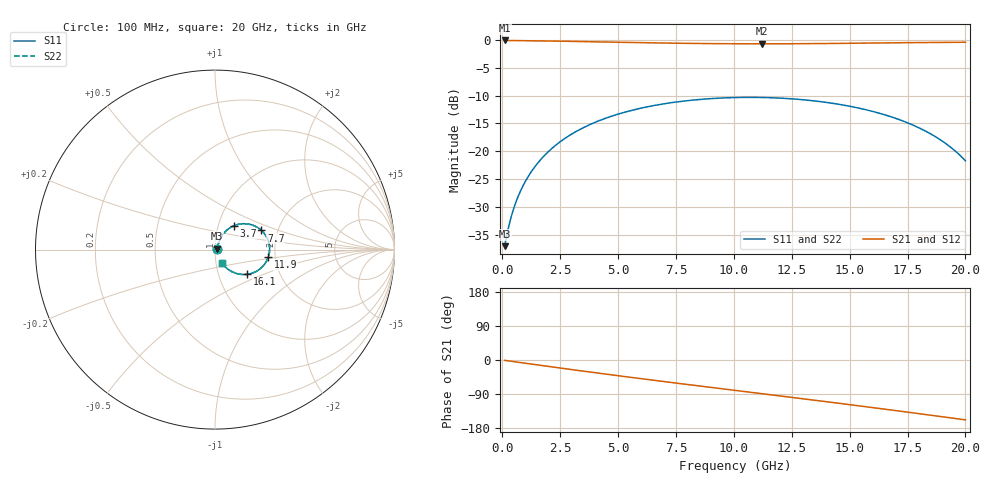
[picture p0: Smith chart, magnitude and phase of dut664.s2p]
! Touchstone file exported from HFSS 2026.1.0
!  File:  C:/ffzhzh/LocalFiles/Ansys_Project_Files/temp_train_TSV_RDL_664_1783131139_37876.aedt
!  Generated:  10:22:12 AM Jul  4, 2026
!  Design:  TSV_RDL
!  Project:  temp_train_TSV_RDL_664_1783131139_37876
! Variables:
!  h_bsmrdl = 2.51um
!  h_ox = 20um
!  h_rdl = 5um
!  h_sub = 56.38um
!  h_tmrdl = 4.46um
!  h_tsv = 56.38um
!  h_via = 3um
!  l_bsmrdl = 198.41um
!  l_sub = 2781.92um
!  l_tmrdl = 411.01um
!  m_sub = 200um
!  pitch = 33.77um
!  r_tsv = 4.67um
!  s_tmrdl = 10um
!  w_bsmrdl = 26.32um
!  w_sub = 500um
!  w_tmrdl = 21.23um
!  x_tsv_center1 = 421.625um
!  x_tsv_center2 = 646.355um
!  x_tsv_center3 = 1078.595um
!  x_tsv_center4 = 1303.325um
!  x_tsv_center5 = 1735.565um
!  x_tsv_center6 = 1960.295um
# GHz S MA R 50.000000
! Terminal data exported
! Port[1] = TM_RDL1_1_T1
! Port[2] = TM_RDL5_1_T1
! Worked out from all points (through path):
!   200 points, 100 MHz to 20 GHz, reference 50 ohm
!   highest |S21| = -0.11 dB at 100 MHz (marker M1); lowest = -0.7 dB at 11.2 GHz (marker M2)
!   group delay of S21, straight-line fit = 21.6 ps
!   lowest |S11| = -37.1 dB at 100 MHz (marker M3), VSWR 1.03, Z = 51.3 + j0.612 ohm
!   |S11| at or under -10 dB: start of sweep to end of sweep
!   |S22| runs from -37.1 to -10.3 dB; largest |S21 - S12| = 7.5e-13
!   S11 on the Smith chart (normalised r, x): 100 MHz: 1.03, +0.01; 3.7 GHz: 1.19, +0.33; 7.7 GHz: 1.64, +0.38; 11.9 GHz: 1.84, -0.16; 16.1 GHz: 1.37, -0.40; 20 GHz: 1.07, -0.16
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0.1  0.01403 25.2  0.9874 -0.9  0.9874 -0.9  0.01403 25.2
! Gamma 0 0 0 0
! Port Impedance 50 0 50 0
0.3  0.02205 47.8  0.9858 -2.7  0.9858 -2.7  0.02205 47.8
0.5  0.03088 56.4  0.9846 -4.4  0.9846 -4.4  0.03088 56.4
0.8  0.04451 61.9  0.9831 -6.9  0.9831 -6.9  0.04451 61.9
1.2  0.06297 64.0  0.9811 -10.3  0.9811 -10.3  0.06298 64.0
1.7  0.08598 63.3  0.9783 -14.5  0.9783 -14.5  0.08598 63.3
2.2  0.1085 61.1  0.975 -18.7  0.975 -18.7  0.1085 61.1
3.5  0.1626 52.9  0.9647 -29.4  0.9647 -29.4  0.1626 52.9
3.7  0.1702 51.5  0.9629 -31.0  0.9629 -31.0  0.1702 51.5
5.1  0.2182 41.4  0.9506 -42.3  0.9506 -42.3  0.2182 41.4
6.8  0.2626 29.0  0.9371 -55.5  0.9371 -55.5  0.2626 29.0
7.7  0.2797 22.5  0.9312 -62.4  0.9312 -62.4  0.2797 22.5
10.1  0.3034 5.3  0.9219 -80.6  0.9219 -80.6  0.3034 5.2
11.2  0.3036 -2.6  0.9209 -88.8  0.9209 -88.8  0.3036 -2.6
11.9  0.3003 -7.6  0.9213 -94.1  0.9213 -94.1  0.3003 -7.6
13.4  0.2841 -18.4  0.9247 -105.5  0.9247 -105.5  0.2841 -18.4
14.8  0.258 -28.5  0.9302 -116.2  0.9302 -116.2  0.258 -28.5
16.1  0.2247 -37.8  0.9365 -126.4  0.9365 -126.4  0.2247 -37.9
16.7  0.2065 -42.1  0.9394 -131.2  0.9394 -131.2  0.2065 -42.2
18.6  0.1391 -55.1  0.9476 -146.5  0.9476 -146.5  0.1391 -55.2
19.4  0.107 -59.8  0.95 -153.0  0.95 -153.0  0.107 -59.9
20  0.08205 -62.3  0.9511 -157.9  0.9511 -157.9  0.082 -62.5
